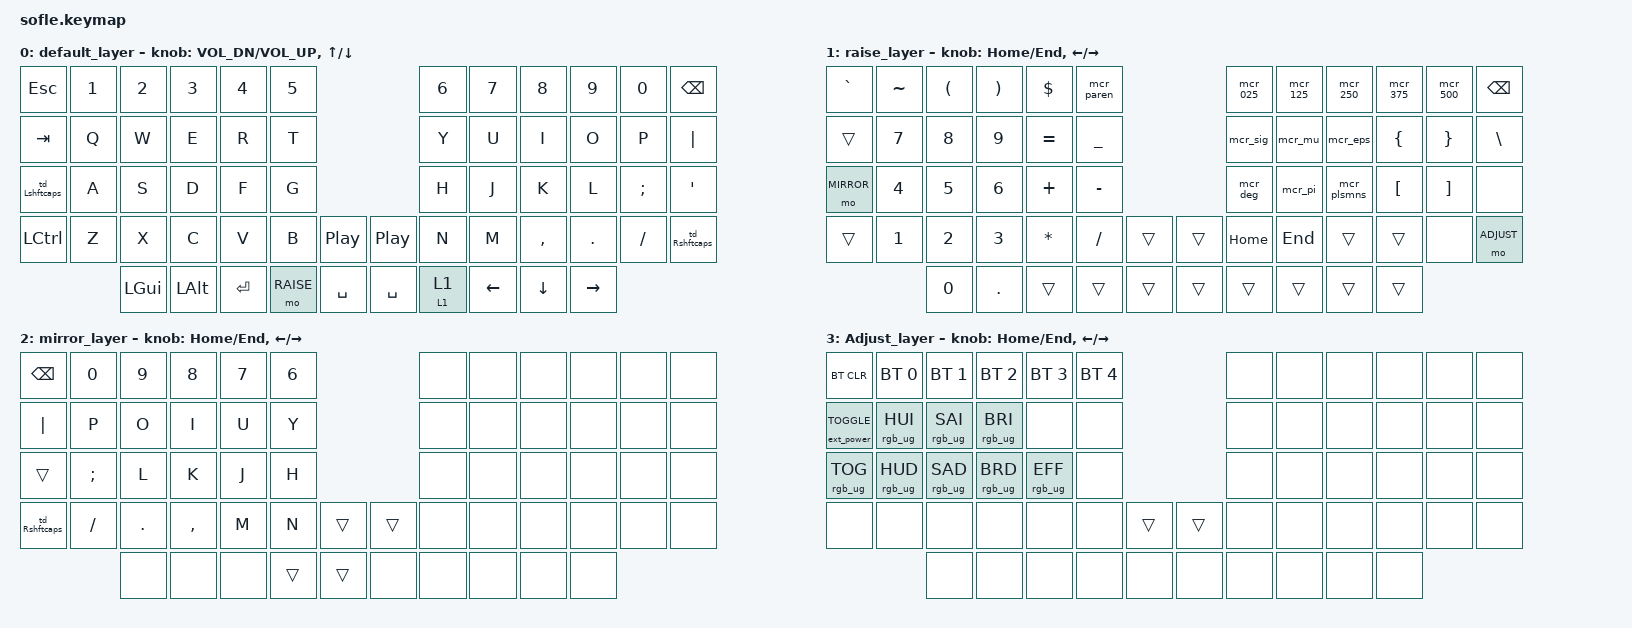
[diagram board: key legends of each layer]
#include <behaviors.dtsi>
#include <dt-bindings/zmk/keys.h>
#include <dt-bindings/zmk/bt.h>
#include <dt-bindings/zmk/rgb.h>
#include <dt-bindings/zmk/ext_power.h>

#include "../zmk-nodefree-config-main/helper.h"
#include "../zmk-nodefree-config-main/keypos_def/keypos_36keys.h"
#include "../zmk-nodefree-config-main/international_chars/german.dtsi"

#define BASE 0
#define RAISE 1
#define MIRROR 2
#define ADJUST 3

#define MO_TOG(layer) &mo_tog layer layer   // Macro to apply momentary-layer-on-hold/toggle-layer-on-tap to a specific layer
#define COMBO(NAME, BINDINGS, KEYPOS) \
  combo_##NAME { \
    timeout-ms = <50>; \
    bindings = <BINDINGS>; \
    key-positions = <KEYPOS>; \
    layers = <0 1 2>; \
  };

ZMK_UNICODE_SINGLE(ucd_delta,  N0, N3, N9, N4)

&mt {
    tapping-term-ms = <200>;
    retro-tap;
};
    
/ {
    macros {
        mcr_025: mcr_025 {
            label = "mcr_025";
            compatible = "zmk,behavior-macro";
            #binding-cells = <0>;
            wait-ms = <20>;
            tap-ms = <10>;
            bindings
                = <&macro_press &kp LCTRL>
                , <&macro_tap &kp A>
                , <&macro_release &kp LCTRL>
                , <&macro_tap &kp KP_N0 &kp DOT &kp KP_N0 &kp KP_N2 &kp KP_N5>
                , <&macro_tap &kp RET>
                ;
        };
        mcr_125: mcr_125 {
            label = "mcr_125";
            compatible = "zmk,behavior-macro";
            #binding-cells = <0>;
            wait-ms = <20>;
            tap-ms = <10>;
            bindings
                = <&macro_press &kp LCTRL>
                , <&macro_tap &kp A>
                , <&macro_release &kp LCTRL>
                , <&macro_tap &kp KP_N0 &kp DOT &kp KP_N1 &kp KP_N2 &kp KP_N5>
                , <&macro_tap &kp RET>
                ;
        };
        mcr_250: mcr_250 {
            label = "mcr_250";
            compatible = "zmk,behavior-macro";
            #binding-cells = <0>;
            wait-ms = <20>;
            tap-ms = <10>;
            bindings
                = <&macro_press &kp LCTRL>
                , <&macro_tap &kp A>
                , <&macro_release &kp LCTRL>
                , <&macro_tap &kp KP_N0 &kp DOT &kp KP_N2 &kp KP_N5>
                , <&macro_tap &kp RET>
                ;
        };
        mcr_375: mcr_375 {
            label = "mcr_375";
            compatible = "zmk,behavior-macro";
            #binding-cells = <0>;
            wait-ms = <20>;
            tap-ms = <10>;
            bindings
                = <&macro_press &kp LCTRL>
                , <&macro_tap &kp A>
                , <&macro_release &kp LCTRL>
                , <&macro_tap &kp KP_N0 &kp DOT &kp KP_N3 &kp KP_N7 &kp KP_N5>
                , <&macro_tap &kp RET>
                ;
        };
        mcr_500: mcr_500 {
            label = "mcr_500";
            compatible = "zmk,behavior-macro";
            #binding-cells = <0>;
            wait-ms = <20>;
            tap-ms = <10>;
            bindings
                = <&macro_press &kp LCTRL>
                , <&macro_tap &kp A>
                , <&macro_release &kp LCTRL>
                , <&macro_tap &kp KP_N0 &kp DOT &kp KP_N5>
                , <&macro_tap &kp RET>
                ;
        };
        mcr_deg: mcr_deg {
            label = "mcr_deg";
            compatible = "zmk,behavior-macro";
            #binding-cells = <0>;
            wait-ms = <20>;
            tap-ms = <10>;
            bindings
                = <&macro_press &kp LALT>
                , <&macro_tap &kp KP_N2 &kp KP_N4 &kp KP_N8>
                , <&macro_release &kp LALT>
                ;
        };
        mcr_mueps: mcr_mueps {
            label = "mcr_mueps";
            compatible = "zmk,behavior-macro";
            #binding-cells = <0>;
            wait-ms = <20>;
            tap-ms = <10>;
            bindings
                = <&macro_press &kp LALT>
                , <&macro_tap &kp KP_N2 &kp KP_N3 &kp KP_N0>
                , <&macro_release &kp LALT>
                , <&macro_press &kp LALT>
                , <&macro_tap &kp KP_N2 &kp KP_N3 &kp KP_N8>
                , <&macro_release &kp LALT>
                ;
        };
        mcr_mu: mcr_mu {
            label = "mcr_mu";
            compatible = "zmk,behavior-macro";
            #binding-cells = <0>;
            wait-ms = <20>;
            tap-ms = <10>;
            bindings
                = <&macro_press &kp LALT>
                , <&macro_tap &kp KP_N2 &kp KP_N3 &kp KP_N0>
                , <&macro_release &kp LALT>
                ;
        };
        mcr_eps: mcr_eps {
            label = "mcr_eps";
            compatible = "zmk,behavior-macro";
            #binding-cells = <0>;
            wait-ms = <20>;
            tap-ms = <10>;
            bindings
                = <&macro_press &kp LALT>
                , <&macro_tap &kp KP_N2 &kp KP_N3 &kp KP_N8>
                , <&macro_release &kp LALT>
                ;
        };
        mcr_pi: mcr_pi {
            label = "mcr_pi";
            compatible = "zmk,behavior-macro";
            #binding-cells = <0>;
            wait-ms = <20>;
            tap-ms = <10>;
            bindings
                = <&macro_press &kp LALT>
                , <&macro_tap &kp KP_N2 &kp KP_N2 &kp KP_N7>
                , <&macro_release &kp LALT>
                ;
        };
        mcr_sig: mcr_sig {
            label = "mcr_sig";
            compatible = "zmk,behavior-macro";
            #binding-cells = <0>;
            wait-ms = <20>;
            tap-ms = <10>;
            bindings
                = <&macro_press &kp LALT>
                , <&macro_tap &kp KP_N2 &kp KP_N2 &kp KP_N9>
                , <&macro_release &kp LALT>
                ;
        };
        mcr_plsmns: mcr_plsmns {
            label = "mcr_plsmns";
            compatible = "zmk,behavior-macro";
            #binding-cells = <0>;
            wait-ms = <20>;
            tap-ms = <10>;
            bindings
                = <&macro_press &kp LALT>
                , <&macro_tap &kp KP_N0 &kp KP_N1 &kp KP_N7 &kp KP_N7>
                , <&macro_release &kp LALT>
                ;
        };
        mcr_paren: mcr_paren {
            label = "mcr_paren";
            compatible = "zmk,behavior-macro";
            #binding-cells = <0>;
            wait-ms = <20>;
            tap-ms = <10>;
            bindings
                = <&macro_tap &kp F2 &kp LPAR &kp RPAR &kp LEFT>
                ;
        };
        /*mcr_pw: mcr_pw {
            label = "mcr_pw";
            compatible = "zmk,behavior-macro";
            #binding-cells = <0>;
            wait-ms = <20>;
            tap-ms = <10>;
            bindings
                = <&macro_press &kp LSHFT>
                , <&macro_tap &kp I>
                , <&macro_release &kp LSHFT>
                , <&macro_tap &kp n &kp t &kp e &kp r &kp f &kp e &kp r &kp o &kp m &kp e &kp t &kp e &kp r &kp N4 &kp RET>
                ;
        };*/
};
        
  
        combos {
/*                        KEY POSITIONS
  ╭────────────────────────╮         ╭────────────────────────╮
  │  0   1   2   3   4   5 │         │  6   7   8   9  10  11 │
  │ 12  13  14  15  16  17 │         │ 18  19  20  21  22  23 │
  │ 24  25  26  27  28  29 ╰───╮ ╭───╯ 30  31  32  33  34  35 │
  │ 36  37  38  39  40  41  42 | | 43  44  45  46  47  48  49 │  note: encoder pushbuttons on 42 and 43
  ╰───────╮ 50  51  52  53  54 │ │ 55  56  57  58  59 ╭───────╯
          ╰────────────────────╯ ╰────────────────────╯        
                      COMBOS with RAISE (53)
  ╭───────────────────────────╮          ╭────────────────────────╮
  │ _  .025 .125 .25  .375 .5 │          │  _   _   _   _   _   _ │
  │ _   _    _    ^    _    _ │          │  _   _   _   _   _   _ │
  │ _   _    <-   v    ->{±}_ ╰────╮ ╭───╯  _   _   _   _   _   _ │
  │ _   π    °    σ    µ{µε}ε    _ | | _    _   _   _   _   _   _ │
  ╰───────╮ PSCRN _    _  RAISE  _ │ │ _    _   _   _   _ ╭───────╯
          ╰────────────────────────╯ ╰────────────────────╯        */
            compatible = "zmk,combos";
            
            COMBO(cmb_bspc, &kp BSPC, 13 14)
            COMBO(cmb_del, &kp DEL, 14 15)
            COMBO(cmb_enter, &kp RET, 48 49)
            COMBO(cmb_up1, &kp UP, 57 58)
            COMBO(cmb_up, &kp UP, 15 53)
            COMBO(cmb_down, &kp DOWN, 27 53)
            COMBO(cmb_left, &kp LEFT, 26 53)
            COMBO(cmb_right, &kp RIGHT, 28 53)
            COMBO(cmb_delta, &ucd_delta, 36 53)
            COMBO(cmb_pi, &mcr_pi, 37 53)
            COMBO(cmb_deg, &mcr_deg, 38 53)
            COMBO(cmb_sig, &mcr_sig, 39 53)
            COMBO(cmb_mu, &mcr_mu, 40 53)
            COMBO(cmb_eps, &mcr_eps, 41 53)
            COMBO(cmb_mueps, &mcr_mueps, 40 41 53)
            COMBO(cmb_plsmns, &mcr_plsmns, 28 29 53)
            COMBO(cmb_pscrn, &kp PSCRN, 50 53)
            COMBO(cmb_025, &mcr_025, 1 53)
            COMBO(cmb_125, &mcr_125, 2 53)
            COMBO(cmb_250, &mcr_250, 3 53)
            COMBO(cmb_375, &mcr_375, 4 53)
            COMBO(cmb_500, &mcr_500, 5 53)
            /*COMBO(cmb_pw, &mcr_pw, 9 10 11)*/
            COMBO(cmb_minus, &kp MINUS, 28 29)
        };
};

/ {
    // Activate ADJUST layer by pressing numarrow and code
    //conditional_layers {
    //     compatible = "zmk,conditional-layers";
    //     adjust_layer {
    //         if-layers = <NUMBER CODE>;
    //         then-layer = <ADJUST>;
    //     };
    //};
    
    behaviors {
        mo_tog: behavior_mo_tog {
            compatible = "zmk,behavior-hold-tap";
            label = "mo_tog";
            #binding-cells = <2>;
            flavor = "hold-preferred";
            tapping-term-ms = <200>;
            bindings = <&mo>, <&tog>;
        };
        td_Lshftcaps: td_Lshftcaps {
            compatible = "zmk,behavior-tap-dance";
            label = "td_Lshftcaps";
            #binding-cells = <0>;
            tapping-term-ms = <200>;
            bindings = <&kp LSHFT>, <&kp CAPS>;
        };
        td_Rshftcaps: td_Rshftcaps {
            compatible = "zmk,behavior-tap-dance";
            label = "td_Rshftcaps";
            #binding-cells = <0>;
            tapping-term-ms = <200>;
            bindings = <&kp RSHFT>, <&kp CAPS>;
        };
    };
  
    keymap {
        compatible = "zmk,keymap";
        
        default_layer {
/* ╭─────────────────────────────────╮                 ╭──────────────────────────────────╮
   |   ESC    1    2    3    4    5  |                 |  6    7    8    9    0    BKSPC  |
   |   TAB    Q    W    E    R    T  |                 |  Y    U    I    O    P      |    |
   |SHFT/CAP  A    S    D    F    G  ╰───────╮ ╭───────╯  H    J    K    L    ;:    ' "   |
   |   CTRL   Z    X    C    V    B     C_PP | | C_PP     N    M    ,    .    /?  SHFT/CAP|
   ╰────────────╮ WIN  ALT ENTER RAISE SPACE | | SPACE RAISE   <-   v   -> ╭──────────────╯
                ╰────────────────────────────╯ ╰───────────────────────────╯              */
            bindings = <
&kp ESC       &kp N1 &kp N2   &kp N3   &kp N4  &kp N5                        &kp N6      &kp N7   &kp N8    &kp N9   &kp N0   &kp BSPC
&kp TAB       &kp Q  &kp W    &kp E    &kp R   &kp T                         &kp Y       &kp U    &kp I     &kp O    &kp P    &kp PIPE
&td_Lshftcaps &kp A  &kp S    &kp D    &kp F   &kp G                         &kp H       &kp J    &kp K     &kp L    &kp SEMI &kp APOS
&kp LCTRL     &kp Z  &kp X    &kp C    &kp V   &kp B     &kp C_PP  &kp C_PP  &kp N       &kp M    &kp COMMA &kp DOT  &kp FSLH &td_Rshftcaps
                     &kp LGUI &kp LALT &kp RET &mo RAISE &kp SPACE &kp SPACE &mo_tog 1 1 &kp LEFT &kp DOWN &kp RIGHT
            >;
            sensor-bindings = <&inc_dec_kp C_VOL_DN C_VOL_UP &inc_dec_kp UP DOWN>;
        };
        
        raise_layer {
/* ╭───────────────────────────────────╮               ╭───────────────────────────────────╮
   |    `      ~     (    )    $    () |               | .025  .125  .25  .375  0.5  BKSPC |
   |   TAB     7     8    9    =    _  |               |  σ     µ     ε    {     }   BSLH  |
   |MirrorLyr  4     5    6    +    -  ╰──────╮ ╭──────╯  °     π     ±    [     ]         |
   |           1     2    3    *    /    C_PP | | C_PP   HOME  END    ,    .      AdjustLyr|
   ╰────────────╮    0    .  ENTER      SPACE | | SPACE         <-    v   -> ╭─────────────╯
                ╰─────────────────────────────╯ ╰────────────────────────────╯              */
            bindings = <
&kp GRAVE  &kp TILDE &kp LPAR &kp RPAR &kp DLLR  &mcr_paren                   &mcr_025 &mcr_125 &mcr_250    &mcr_375 &mcr_500 &kp BSPC
&trans     &kp N7    &kp N8   &kp N9   &kp EQUAL &kp UNDER                    &mcr_sig &mcr_mu  &mcr_eps    &kp LBRC &kp RBRC &kp BSLH
&mo MIRROR &kp N4    &kp N5   &kp N6   &kp PLUS  &kp MINUS                    &mcr_deg &mcr_pi  &mcr_plsmns &kp LBKT &kp RBKT &none
&trans     &kp N1    &kp N2   &kp N3   &kp STAR  &kp FSLH  &trans      &trans &kp HOME &kp END  &trans      &trans   &none    &mo ADJUST
                     &kp N0   &kp DOT  &trans    &trans    &trans      &trans &trans   &trans   &trans      &trans
            >;
            sensor-bindings = <&inc_dec_kp HOME END &inc_dec_kp LEFT RIGHT>;
        };
        
        mirror_layer {
/* ╭─────────────────────────────────╮               ╭─────────────────────────╮
   | BKSPC   0     9    8    7    6  |               │                         │
   |   |     P     O    I    U    Y  |               │                         │
   |         ;:    L    K    J    H  ╰──────╮ ╭──────╯                         │
   | RSHFT   /?    .    ,    M    N    C_PP | | C_PP                           │
   ╰────────────╮                     SPACE | |                       ╭────────╯
                ╰───────────────────────────╯ ╰───────────────────────╯         */
            bindings = <
&kp BSPC      &kp N0   &kp N9  &kp N8    &kp N7 &kp N6                 &none &none  &none &none &none &none
&kp PIPE      &kp P    &kp O   &kp I     &kp U  &kp Y                  &none &none  &none &none &none &none
&trans        &kp SEMI &kp L   &kp K     &kp J  &kp H                  &none &none  &none &none &none &none
&td_Rshftcaps &kp FSLH &kp DOT &kp COMMA &kp M  &kp N  &trans   &trans &none &none  &none &none &none &none
                       &none   &none     &none  &trans &trans   &none  &none &none &none &none
            >;
            sensor-bindings = <&inc_dec_kp HOME END &inc_dec_kp LEFT RIGHT>;
        };
        
        Adjust_layer {
/* ╭─────────────────────────────────╮          ╭─────────────────────────╮
   │ BTCLR   BT1  BT2  BT3  BT4  BT5 │          │  _   _   _   _   _   _  │
   │ ExtPwr  Hue+ Sat+ Bri+  _    _  │          │  _   _   _   _   _   _  │
   │ TogRGB  Hue- Sat- Bri- Eff   _  ╰────╮ ╭───╯  _   _   _   _   _   _  │
   │   _      _    _    _    _    _     _ | | _    _   _   _   _   _   _  │
   ╰────────╮ _    _    _    _    _     _ │ │ _    _   _   _   _ ╭────────╯
            ╰─────────────────────────────╯ ╰────────────────────╯        */
        bindings = <
&bt BT_CLR                      &bt BT_SEL 0    &bt BT_SEL 1    &bt BT_SEL 2    &bt BT_SEL 3    &bt BT_SEL 4               &none &none &none &none &none &none
&ext_power EXT_POWER_TOGGLE_CMD &rgb_ug RGB_HUI &rgb_ug RGB_SAI &rgb_ug RGB_BRI &none           &none                      &none &none &none &none &none &none
&rgb_ug RGB_TOG                 &rgb_ug RGB_HUD &rgb_ug RGB_SAD &rgb_ug RGB_BRD &rgb_ug RGB_EFF &none                      &none &none &none &none &none &none
&none                           &none           &none           &none           &none           &none        &trans &trans &none &none &none &none &none &none
                                                &none           &none           &none           &none        &none  &none  &none &none &none &none
            >;
            sensor-bindings = <&inc_dec_kp HOME END &inc_dec_kp LEFT RIGHT>;
        };
    };
};
